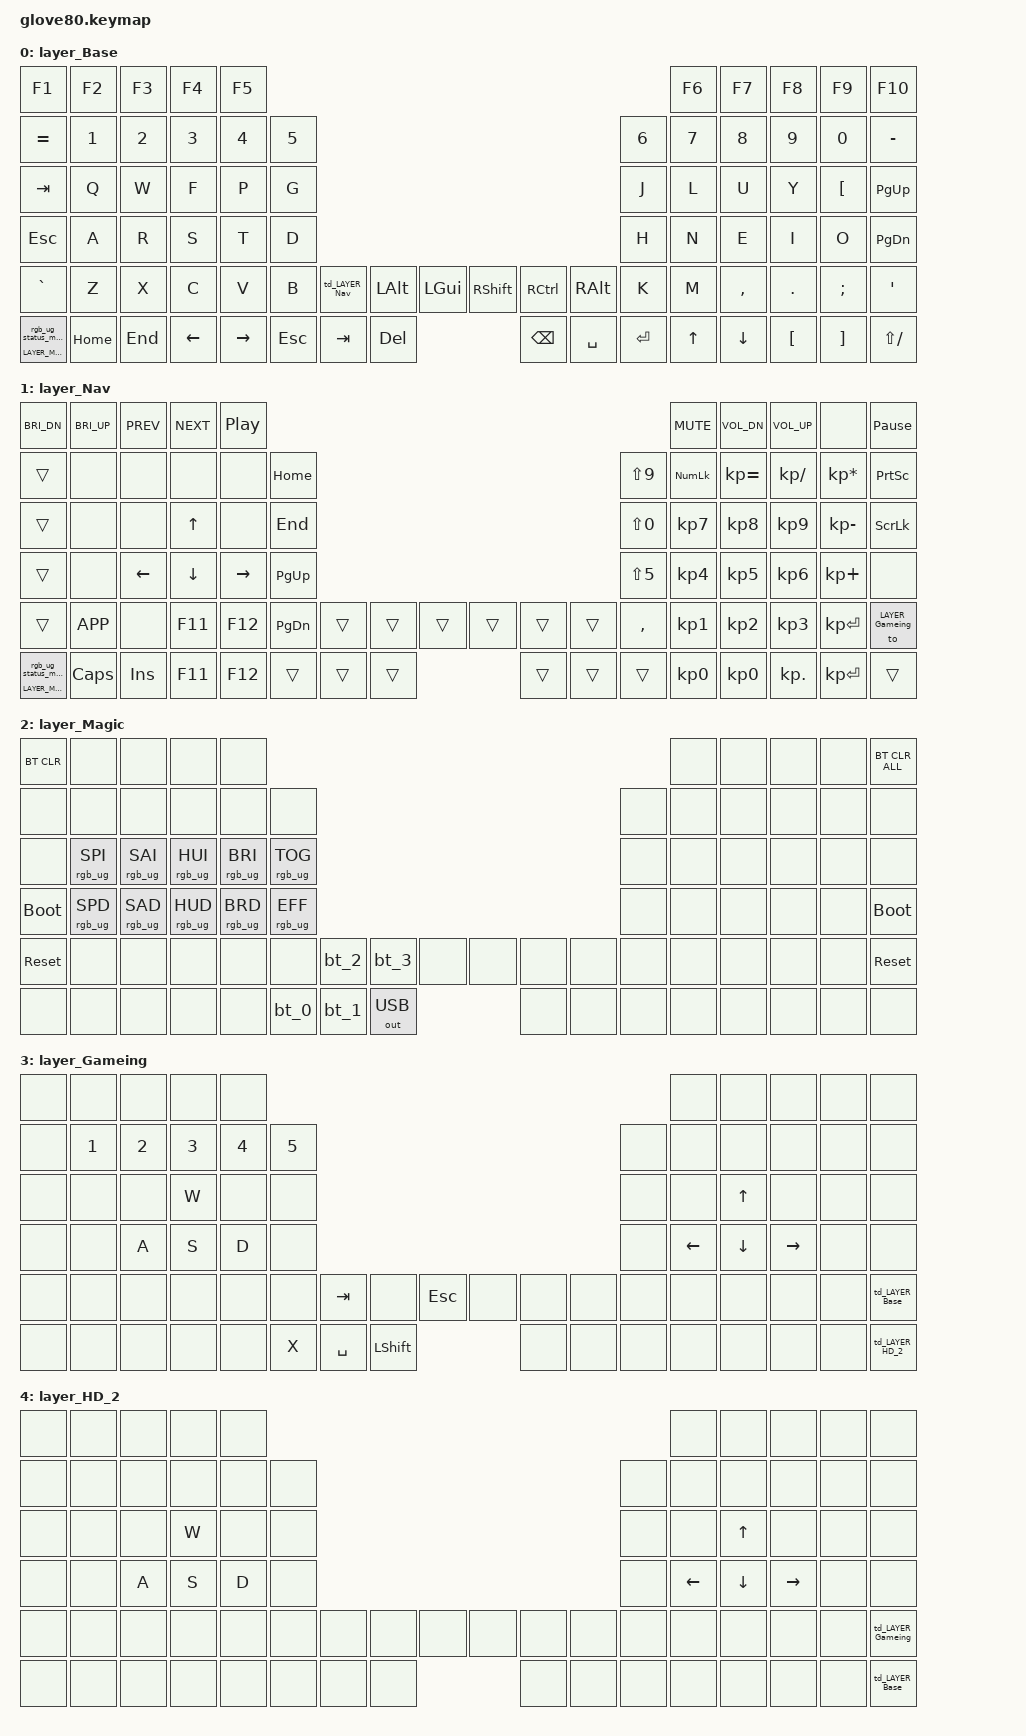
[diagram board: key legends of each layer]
/*
 * Copyright (c) 2020 The ZMK Contributors
 * Copyright (c) 2025 Innaworks Development Limited, trading as MoErgo
 *
 * SPDX-License-Identifier: MIT
 */


/* THIS FILE WAS GENERATED BY GLOVE80 LAYOUT EDITOR
 *
 * This file was generated automatically. You may or may not want to
 * edit it directly.
 */

#include <behaviors.dtsi>
/* Include all behavior includes needed */
#include <dt-bindings/zmk/outputs.h>
#include <dt-bindings/zmk/keys.h>
#include <dt-bindings/zmk/bt.h>
#include <dt-bindings/zmk/rgb.h>

/* On demand includes */


/* Helper Macros, based on https://github.com/urob/zmk-helpers/ */

#pragma once

#define ZMK_HELPER_STRINGIFY(x) #x

// Preprocessor mechanism to overload macros, cf. https://stackoverflow.com/a/27051616/6114651
#define VARGS_(_10, _9, _8, _7, _6, _5, _4, _3, _2, _1, N, ...) N
#define VARGS(...) VARGS_(__VA_ARGS__, 10, 9, 8, 7, 6, 5, 4, 3, 2, 1, 0)
#define CONCAT_(a, b) a##b
#define CONCAT(a, b) CONCAT_(a, b)

#define ZMK_BEHAVIOR_CORE_tap_dance  \
    compatible = "zmk,behavior-tap-dance"; \
    #binding-cells = <0>

#define ZMK_BEHAVIOR(name, type, ...) \
    name: name { \
        ZMK_BEHAVIOR_CORE_ ## type; \
        __VA_ARGS__ \
    };

#define ZMK_TAP_DANCE(name, ...) \
    ZMK_BEHAVIOR(name, tap_dance, __VA_ARGS__)

#define ZMK_TD_LAYER(name, layer) \
    ZMK_TAP_DANCE(name, \
        tapping-term-ms = <200>; \
        bindings = <&mo layer>, <&to layer>; \
)

/* Environment and metadata defines */
#define KB_TYPE_GLOVE_80 1
#define KB_TYPE_GO_60    2

#define KB_TYPE          KB_TYPE_GLOVE_80
#define EDITOR_LAYOUT_OS 'L'
#define EDITOR_HOST_OS   'L'

/* Automatically generated layer name defines */
#define LAYER_Base 0
#define LAYER_Nav 1
#define LAYER_Magic 2
#define LAYER_Gameing 3
#define LAYER_HD_2 4

/* To deal with the situation where there is no Lower layer, to keep &lower happy */
#ifndef LAYER_Lower
#define LAYER_Lower 0
#endif

/* Custom Device-tree */


/* Input Listeners */


/* System behavior and Macros */
/ {
    behaviors {
        ZMK_TD_LAYER(lower, LAYER_Lower)
    };
};

/ {
    macros {
        rgb_ug_status_macro: rgb_ug_status_macro {
            label = "RGB_UG_STATUS";
            compatible = "zmk,behavior-macro";
            #binding-cells = <0>;
            bindings
                = <&rgb_ug RGB_STATUS>;
        };
    };
};


/ {
#ifdef BT_DISC_CMD
    behaviors {
        bt_0: bt_0 {
            compatible = "zmk,behavior-tap-dance";
            label = "BT_0";
            #binding-cells = <0>;
            tapping-term-ms = <200>;
            bindings = <&bt_select_0>, <&bt BT_DISC 0>;
        };
        bt_1: bt_1 {
            compatible = "zmk,behavior-tap-dance";
            label = "BT_1";
            #binding-cells = <0>;
            tapping-term-ms = <200>;
            bindings = <&bt_select_1>, <&bt BT_DISC 1>;
        };
        bt_2: bt_2 {
            compatible = "zmk,behavior-tap-dance";
            label = "BT_2";
            #binding-cells = <0>;
            tapping-term-ms = <200>;
            bindings = <&bt_select_2>, <&bt BT_DISC 2>;
        };
        bt_3: bt_3 {
            compatible = "zmk,behavior-tap-dance";
            label = "BT_3";
            #binding-cells = <0>;
            tapping-term-ms = <200>;
            bindings = <&bt_select_3>, <&bt BT_DISC 3>;
        };
    };
    macros {
        bt_select_0: bt_select_0 {
            label = "BT_SELECT_0";
            compatible = "zmk,behavior-macro";
            #binding-cells = <0>;
            bindings
                = <&out OUT_BLE>,
                  <&bt BT_SEL 0>;
        };
        bt_select_1: bt_select_1 {
            label = "BT_SELECT_1";
            compatible = "zmk,behavior-macro";
            #binding-cells = <0>;
            bindings
                = <&out OUT_BLE>,
                  <&bt BT_SEL 1>;
        };
        bt_select_2: bt_select_2 {
            label = "BT_SELECT_2";
            compatible = "zmk,behavior-macro";
            #binding-cells = <0>;
            bindings
                = <&out OUT_BLE>,
                  <&bt BT_SEL 2>;
        };
        bt_select_3: bt_select_3 {
            label = "BT_SELECT_3";
            compatible = "zmk,behavior-macro";
            #binding-cells = <0>;
            bindings
                = <&out OUT_BLE>,
                  <&bt BT_SEL 3>;
        };
    };
#else
    macros {
        bt_0: bt_0 {
            label = "BT_0";
            compatible = "zmk,behavior-macro";
            #binding-cells = <0>;
            bindings
                = <&out OUT_BLE>,
                  <&bt BT_SEL 0>;
        };
        bt_1: bt_1 {
            label = "BT_1";
            compatible = "zmk,behavior-macro";
            #binding-cells = <0>;
            bindings
                = <&out OUT_BLE>,
                  <&bt BT_SEL 1>;
        };
        bt_2: bt_2 {
            label = "BT_2";
            compatible = "zmk,behavior-macro";
            #binding-cells = <0>;
            bindings
                = <&out OUT_BLE>,
                  <&bt BT_SEL 2>;
        };
        bt_3: bt_3 {
            label = "BT_3";
            compatible = "zmk,behavior-macro";
            #binding-cells = <0>;
            bindings
                = <&out OUT_BLE>,
                  <&bt BT_SEL 3>;
        };
    };
#endif
};

/ {
    behaviors {
        magic: magic {
            compatible = "zmk,behavior-hold-tap";
            label = "MAGIC_HOLD_TAP";
            #binding-cells = <2>;
            flavor = "tap-preferred";
            tapping-term-ms = <200>;
            bindings = <&mo>, <&rgb_ug_status_macro>;
        };
    };
};


/* Locale-specific keycodes */

#define SV_SECTION GRAVE
#define SV_PLUS MINUS
#define SV_ACUTE EQUAL
#define SV_E E
#define SV_A_RING LEFT_BRACKET
#define SV_UMLA RIGHT_BRACKET
#define SV_OE SEMICOLON
#define SV_AE SINGLE_QUOTE
#define SV_SQT BACKSLASH
#define SV_LT NON_US_BACKSLASH
#define SV_COMMA COMMA
#define SV_DOT PERIOD
#define SV_MINUS SLASH
#define SV_N1 N1
#define SV_N2 N2
#define SV_N3 N3
#define SV_N4 N4
#define SV_N5 N5
#define SV_N6 N6
#define SV_N7 N7
#define SV_N8 N8
#define SV_N9 N9
#define SV_N0 N0


/* Key positions */

#define POS_LH_C6R1 0
#define POS_LH_C5R1 1
#define POS_LH_C4R1 2
#define POS_LH_C3R1 3
#define POS_LH_C2R1 4
#define POS_RH_C2R1 5
#define POS_RH_C3R1 6
#define POS_RH_C4R1 7
#define POS_RH_C5R1 8
#define POS_RH_C6R1 9
#define POS_LH_C6R2 10
#define POS_LH_C5R2 11
#define POS_LH_C4R2 12
#define POS_LH_C3R2 13
#define POS_LH_C2R2 14
#define POS_LH_C1R2 15
#define POS_RH_C1R2 16
#define POS_RH_C2R2 17
#define POS_RH_C3R2 18
#define POS_RH_C4R2 19
#define POS_RH_C5R2 20
#define POS_RH_C6R2 21
#define POS_LH_C6R3 22
#define POS_LH_C5R3 23
#define POS_LH_C4R3 24
#define POS_LH_C3R3 25
#define POS_LH_C2R3 26
#define POS_LH_C1R3 27
#define POS_RH_C1R3 28
#define POS_RH_C2R3 29
#define POS_RH_C3R3 30
#define POS_RH_C4R3 31
#define POS_RH_C5R3 32
#define POS_RH_C6R3 33
#define POS_LH_C6R4 34
#define POS_LH_C5R4 35
#define POS_LH_C4R4 36
#define POS_LH_C3R4 37
#define POS_LH_C2R4 38
#define POS_LH_C1R4 39
#define POS_RH_C1R4 40
#define POS_RH_C2R4 41
#define POS_RH_C3R4 42
#define POS_RH_C4R4 43
#define POS_RH_C5R4 44
#define POS_RH_C6R4 45
#define POS_LH_C6R5 46
#define POS_LH_C5R5 47
#define POS_LH_C4R5 48
#define POS_LH_C3R5 49
#define POS_LH_C2R5 50
#define POS_LH_C1R5 51
#define POS_LH_T1 52
#define POS_LH_T2 53
#define POS_LH_T3 54
#define POS_RH_T3 55
#define POS_RH_T2 56
#define POS_RH_T1 57
#define POS_RH_C1R5 58
#define POS_RH_C2R5 59
#define POS_RH_C3R5 60
#define POS_RH_C4R5 61
#define POS_RH_C5R5 62
#define POS_RH_C6R5 63
#define POS_LH_C6R6 64
#define POS_LH_C5R6 65
#define POS_LH_C4R6 66
#define POS_LH_C3R6 67
#define POS_LH_C2R6 68
#define POS_LH_T4 69
#define POS_LH_T5 70
#define POS_LH_T6 71
#define POS_RH_T6 72
#define POS_RH_T5 73
#define POS_RH_T4 74
#define POS_RH_C2R6 75
#define POS_RH_C3R6 76
#define POS_RH_C4R6 77
#define POS_RH_C5R6 78
#define POS_RH_C6R6 79


/* Custom Defined Behaviors */
/ {

};

/* Generated input processors */


/* Automatically generated macro definitions */
/ {
    macros {

    };
};

/* Automatically generated behavior definitions */
/ {
    behaviors {

        // Layer tap dance behaviors

        ZMK_TD_LAYER(td_LAYER_Base, 0)
        ZMK_TD_LAYER(td_LAYER_Nav, 1)
        ZMK_TD_LAYER(td_LAYER_Gameing, 3)
        ZMK_TD_LAYER(td_LAYER_HD_2, 4)

    };
};

/* Automatically generated combos definitions */


/* Automatically generated keymap */
/ {
    keymap {
        compatible = "zmk,keymap";


        layer_Base {
            bindings = <
               &kp F1    &kp F2   &kp F3    &kp F4     &kp F5                                                                                     &kp F6     &kp F7    &kp F8    &kp F9       &kp F10
            &kp EQUAL    &kp N1   &kp N2    &kp N3     &kp N4  &kp N5                                                                     &kp N6  &kp N7     &kp N8    &kp N9    &kp N0     &kp MINUS
              &kp TAB     &kp Q    &kp W     &kp F      &kp P   &kp G                                                                      &kp J   &kp L      &kp U     &kp Y  &kp LBKT     &kp PG_UP
              &kp ESC     &kp A    &kp R     &kp S      &kp T   &kp D                                                                      &kp H   &kp N      &kp E     &kp I     &kp O     &kp PG_DN
            &kp GRAVE     &kp Z    &kp X     &kp C      &kp V   &kp B  &td_LAYER_Nav  &kp LALT  &kp LGUI  &kp RSHFT  &kp RCTRL  &kp RALT   &kp K   &kp M  &kp COMMA   &kp DOT  &kp SEMI       &kp SQT
 &magic LAYER_Magic 0  &kp HOME  &kp END  &kp LEFT  &kp RIGHT                &kp ESC   &kp TAB   &kp DEL   &kp BSPC  &kp SPACE   &kp RET          &kp UP   &kp DOWN  &kp LBKT  &kp RBKT  &kp LS(FSLH)
            >;
        };

        layer_Nav {
            bindings = <
         &kp C_BRI_DN  &kp C_BRI_UP      &kp C_PREV      &kp C_NEXT         &kp C_PP                                                                         &kp C_MUTE  &kp C_VOL_DN  &kp C_VOL_UP            &none    &kp PAUSE_BREAK
               &trans         &none           &none           &none            &none   &kp HOME                                                  &kp LS(N9)  &kp KP_NUM  &kp KP_EQUAL  &kp KP_SLASH  &kp KP_MULTIPLY    &kp PRINTSCREEN
               &trans         &none           &none          &kp UP            &none    &kp END                                                  &kp LS(N0)   &kp KP_N7     &kp KP_N8     &kp KP_N9     &kp KP_MINUS     &kp SCROLLLOCK
               &trans         &none  &kp LEFT_ARROW  &kp DOWN_ARROW  &kp RIGHT_ARROW  &kp PG_UP                                                  &kp LS(N5)   &kp KP_N4     &kp KP_N5     &kp KP_N6      &kp KP_PLUS              &none
               &trans     &kp K_APP           &none         &kp F11          &kp F12  &kp PG_DN  &trans  &trans  &trans  &trans  &trans  &trans   &kp COMMA   &kp KP_N1     &kp KP_N2     &kp KP_N3     &kp KP_ENTER  &to LAYER_Gameing
 &magic LAYER_Magic 0      &kp CAPS         &kp INS         &kp F11          &kp F12             &trans  &trans  &trans  &trans  &trans  &trans               &kp KP_N0     &kp KP_N0    &kp KP_DOT     &kp KP_ENTER             &trans
            >;
        };

        layer_Magic {
            bindings = <
  &bt BT_CLR            &none            &none            &none            &none                                                                                  &none   &none   &none   &none  &bt BT_CLR_ALL
       &none            &none            &none            &none            &none            &none                                                         &none   &none   &none   &none   &none           &none
       &none  &rgb_ug RGB_SPI  &rgb_ug RGB_SAI  &rgb_ug RGB_HUI  &rgb_ug RGB_BRI  &rgb_ug RGB_TOG                                                         &none   &none   &none   &none   &none           &none
 &bootloader  &rgb_ug RGB_SPD  &rgb_ug RGB_SAD  &rgb_ug RGB_HUD  &rgb_ug RGB_BRD  &rgb_ug RGB_EFF                                                         &none   &none   &none   &none   &none     &bootloader
  &sys_reset            &none            &none            &none            &none            &none   &bt_2   &bt_3         &none   &none   &none   &none   &none   &none   &none   &none   &none      &sys_reset
       &none            &none            &none            &none            &none                    &bt_0   &bt_1  &out OUT_USB   &none   &none   &none           &none   &none   &none   &none           &none
            >;
        };

        layer_Gameing {
            bindings = <
  &none   &none   &none   &none   &none                                                                            &none     &none      &none   &none           &none
  &none  &kp N1  &kp N2  &kp N3  &kp N4  &kp N5                                                          &none     &none     &none      &none   &none           &none
  &none   &none   &none   &kp W   &none   &none                                                          &none     &none    &kp UP      &none   &none           &none
  &none   &none   &kp A   &kp S   &kp D   &none                                                          &none  &kp LEFT  &kp DOWN  &kp RIGHT   &none           &none
  &none   &none   &none   &none   &none   &none  &kp TAB      &none    &kp ESC   &none   &none   &none   &none     &none     &none      &none   &none  &td_LAYER_Base
  &none   &none   &none   &none   &none            &kp X  &kp SPACE  &kp LSHFT   &none   &none   &none             &none     &none      &none   &none  &td_LAYER_HD_2
            >;
        };

        layer_HD_2 {
            bindings = <
  &none   &none   &none   &none   &none                                                                     &none     &none      &none   &none              &none
  &none   &none   &none   &none   &none   &none                                                   &none     &none     &none      &none   &none              &none
  &none   &none   &none   &kp W   &none   &none                                                   &none     &none    &kp UP      &none   &none              &none
  &none   &none   &kp A   &kp S   &kp D   &none                                                   &none  &kp LEFT  &kp DOWN  &kp RIGHT   &none              &none
  &none   &none   &none   &none   &none   &none   &none   &none   &none   &none   &none   &none   &none     &none     &none      &none   &none  &td_LAYER_Gameing
  &none   &none   &none   &none   &none           &none   &none   &none   &none   &none   &none             &none     &none      &none   &none     &td_LAYER_Base
            >;
        };

    };
};
